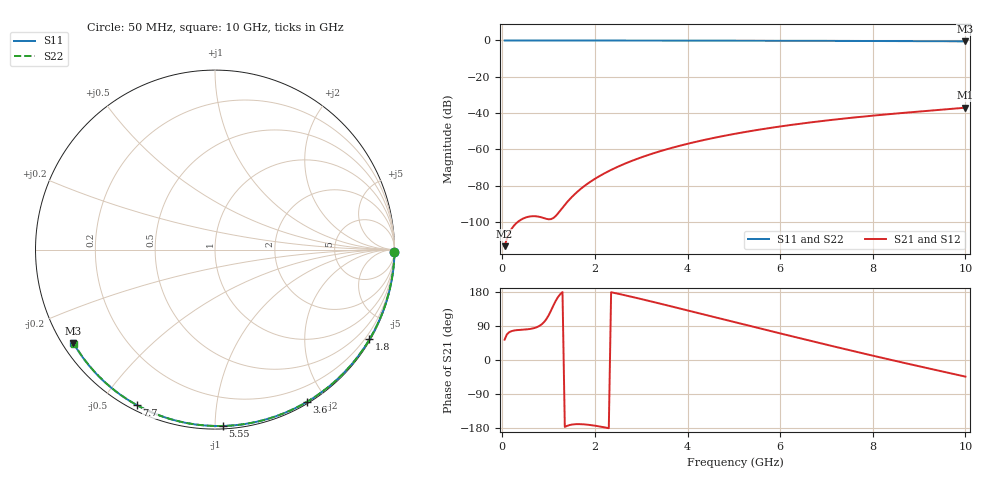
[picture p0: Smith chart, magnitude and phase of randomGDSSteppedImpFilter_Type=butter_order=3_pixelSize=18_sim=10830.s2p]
! freq	dB(S11)	phase(S11)	dB(S12)	phase(S12)
!  dB(S21)	phase(S21)	dB(S22)	phase(S22)
!S-par simulation data
#  GHz  S  DB  R 50
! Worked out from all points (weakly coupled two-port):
!   200 points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, 50 MHz to 10 GHz, reference 50 ohm
!   highest |S21| = -37.04 dB at 10 GHz (marker M1); lowest = -113.3 dB at 50 MHz (marker M2)
!   lowest |S11| = -0.5 dB at 10 GHz (marker M3), VSWR 35.81, Z = 1.52 - j15 ohm
!   |S11| at or under -10 dB: nowhere
!   |S22| runs from -0.5 to 0.0 dB; largest |S21 - S12| = 0
!   S11 on the Smith chart (normalised r, x): 50 MHz: open; 1.8 GHz: 0.03, -3.71; 3.6 GHz: 0.02, -1.77; 5.55 GHz: 0.02, -1.04; 7.7 GHz: 0.02, -0.62; 10 GHz: 0.03, -0.30
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0.05  -0.00 -0.9  -113.32 53.7  -113.32 53.7  -0.00 -0.9
0.45  -0.01 -7.6  -98.11 80.1  -98.11 80.1  -0.01 -7.6
0.85  -0.02 -14.4  -97.47 94.1  -97.47 94.1  -0.02 -14.4
1.3  -0.03 -21.9  -92.12 179.2  -92.12 179.2  -0.03 -21.8
1.75  -0.04 -29.3  -80.62 -169.7  -80.62 -169.7  -0.04 -29.3
1.8  -0.04 -30.2  -79.66 -170.2  -79.66 -170.2  -0.04 -30.1
1.95  -0.04 -32.6  -77.02 -172.4  -77.02 -172.4  -0.04 -32.5
2.1  -0.05 -35.1  -74.70 -175.3  -74.70 -175.3  -0.04 -35.0
2.3  -0.05 -38.3  -71.94 -180.0  -71.94 -180.0  -0.05 -38.2
2.5  -0.05 -41.5  -69.50 174.9  -69.50 174.9  -0.05 -41.4
2.9  -0.06 -47.9  -65.33 163.7  -65.33 163.7  -0.06 -47.8
3.4  -0.07 -55.7  -61.07 149.0  -61.07 149.0  -0.07 -55.6
3.6  -0.08 -58.8  -59.59 143.0  -59.59 143.0  -0.08 -58.7
4.3  -0.10 -69.4  -55.14 121.7  -55.14 121.7  -0.10 -69.2
5.05  -0.12 -80.4  -51.29 98.9  -51.29 98.9  -0.12 -80.2
5.55  -0.14 -87.6  -49.12 83.8  -49.12 83.8  -0.14 -87.3
6.1  -0.17 -95.2  -47.02 67.2  -47.02 67.2  -0.17 -95.0
6.7  -0.20 -103.4  -45.00 49.3  -45.00 49.3  -0.20 -103.2
7.7  -0.27 -116.7  -42.17 20.0  -42.17 20.0  -0.27 -116.4
8.35  -0.32 -125.2  -40.59 1.5  -40.59 1.5  -0.32 -124.9
9.2  -0.40 -136.2  -38.73 -22.1  -38.73 -22.1  -0.40 -135.8
10  -0.49 -146.5  -37.04 -43.8  -37.04 -43.8  -0.50 -146.0
